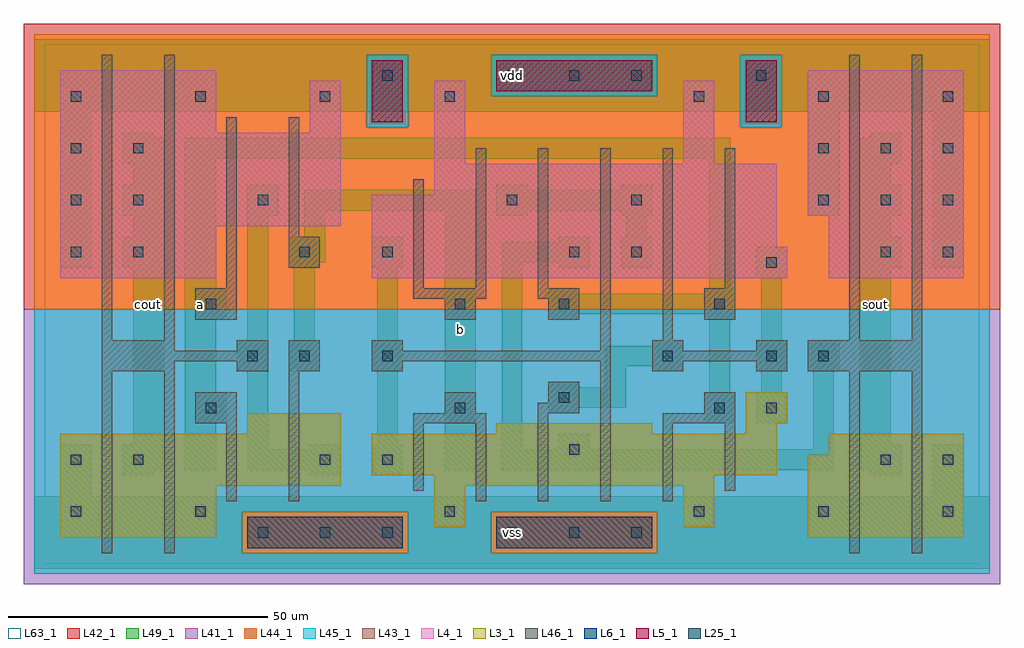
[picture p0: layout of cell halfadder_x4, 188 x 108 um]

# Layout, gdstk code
import gdstk
lib = gdstk.Library(unit=1e-6, precision=1e-09)
def R(c, l, rs):  # rectangles x0, y0, x1, y1
    for r in rs: c.add(gdstk.rectangle(r[:2], r[2:], *l))
def A(c, l, x, y, w, h, nx, ny, dx, dy):  # array of equal rectangles
    R(c, l, [(x+i*dx, y+j*dy, x+i*dx+w, y+j*dy+h) for i in range(nx) for j in range(ny)])
L3_1 = (3, 1)
L4_1 = (4, 1)
L5_1 = (5, 1)
L6_1 = (6, 1)
L25_1 = (25, 1)
L41_1 = (41, 1)
L42_1 = (42, 1)
L43_1 = (43, 1)
L44_1 = (44, 1)
L45_1 = (45, 1)
L46_1 = (46, 1)
L49_1 = (49, 1)
L63_1 = (63, 1)

halfadder_x4 = lib.new_cell('halfadder_x4')
R(halfadder_x4, L3_1, [(3,5,33,15), (147,5,177,21), (75,7,81,15), (123,7,129,15), (3,15,57,25), (75,15,129,17), (63,17,141,25), (151,21,177,25), (39,25,57,29), (87,25,117,27), (135,25,141,27), (135,27,143,33)])
R(halfadder_x4, L4_1, [(3,55,33,65), (63,55,143,61), (151,55,177,67), (63,61,141,71), (3,65,57,83), (147,67,177,95), (75,71,141,77), (75,77,81,93), (123,77,129,93), (3,83,33,95), (51,83,57,93)])
R(halfadder_x4, L5_1, [(63,85,69,97), (135,85,141,97), (87,91,117,97)])
R(halfadder_x4, L6_1, [(39,3,69,9), (87,3,117,9)])
A(halfadder_x4, L25_1, 41, 5, 2, 2, 3, 1, 12, 0)
A(halfadder_x4, L25_1, 89, 5, 2, 2, 3, 2, 12, 88)
A(halfadder_x4, L25_1, 29, 9, 2, 2, 3, 1, 48, 0)
A(halfadder_x4, L25_1, 65, 19, 2, 2, 1, 3, 0, 20)
A(halfadder_x4, L25_1, 5, 59, 2, 2, 1, 3, 0, 10)
A(halfadder_x4, L25_1, 17, 59, 2, 2, 1, 3, 0, 10)
A(halfadder_x4, L25_1, 149, 69, 2, 2, 3, 2, 12, 10)
A(halfadder_x4, L25_1, 5, 89, 2, 2, 4, 1, 24, 0)
A(halfadder_x4, L25_1, 125, 89, 2, 2, 3, 1, 24, 0)
R(halfadder_x4, L25_1, [(5,9,7,11), (149,9,151,11), (173,9,175,11), (5,19,7,21), (17,19,19,21), (53,19,55,21), (161,19,163,21), (173,19,175,21), (101,21,103,23), (31,29,33,31), (79,29,81,31), (129,29,131,31), (139,29,141,31), (99,31,101,33), (39,39,41,41), (49,39,51,41), (119,39,121,41), (139,39,141,41), (149,39,151,41), (31,49,33,51), (79,49,81,51), (99,49,101,51), (129,49,131,51), (139,57,141,59), (49,59,51,61), (101,59,103,61), (113,59,115,61), (161,59,163,61), (173,59,175,61), (41,69,43,71), (89,69,91,71), (113,69,115,71), (65,93,67,95), (137,93,139,95)])
R(halfadder_x4, L41_1, [(-4,-4,184,49)])
R(halfadder_x4, L42_1, [(-4,49,184,104)])
R(halfadder_x4, L43_1, [(39,3,69,9), (87,3,117,9), (3,5,33,15), (147,5,177,21), (75,7,81,15), (123,7,129,15), (3,15,57,25), (75,15,129,17), (63,17,141,25), (151,21,177,25), (39,25,57,29), (87,25,117,27), (135,25,141,27), (135,27,143,33), (3,55,33,65), (63,55,143,61), (151,55,177,67), (63,61,141,71), (3,65,57,83), (147,67,177,95), (75,71,141,77), (75,77,81,93), (123,77,129,93), (3,83,33,95), (51,83,57,93), (63,85,69,97), (135,85,141,97), (87,91,117,97)])
R(halfadder_x4, L44_1, [(38,2,70,10), (86,2,118,10), (-2,49,182,84), (-2,84,62,98), (70,84,134,90), (142,84,182,98), (70,90,86,98), (118,90,134,98), (-2,98,182,102)])
R(halfadder_x4, L45_1, [(-2,-2,182,2), (-2,2,38,10), (70,2,86,10), (118,2,182,10), (-2,10,182,49), (62,84,70,98), (134,84,142,98), (86,90,118,98)])
R(halfadder_x4, L46_1, [(11,2,13,37), (23,2,25,37), (155,2,157,37), (167,2,169,37), (35,12,37,27), (47,12,49,37), (83,12,85,27), (95,12,97,29), (107,12,109,39), (119,12,121,27), (71,14,73,27), (131,14,133,27), (29,27,37,33), (71,27,85,29), (119,27,133,29), (77,29,83,33), (95,29,103,31), (127,29,133,33), (97,31,103,35), (11,37,25,39), (37,37,43,39), (47,37,53,43), (63,37,69,39), (117,37,123,39), (137,37,143,39), (147,37,169,43), (11,39,43,41), (63,39,109,41), (117,39,143,41), (11,41,25,43), (37,41,43,43), (63,41,69,43), (107,41,109,80), (117,41,123,43), (137,41,143,43), (11,43,13,98), (23,43,25,98), (119,43,121,80), (155,43,157,98), (167,43,169,98), (29,47,37,53), (77,47,83,51), (97,47,103,51), (127,47,133,53), (71,51,85,53), (95,51,103,53), (35,53,37,86), (71,53,73,74), (83,53,85,80), (95,53,97,80), (131,53,133,80), (47,57,53,63), (47,63,49,86)])
A(halfadder_x4, L49_1, 63, 17, 6, 6, 1, 3, 0, 20)
R(halfadder_x4, L49_1, [(-2,-1,182,13), (3,13,9,23), (171,13,177,23), (15,17,21,18), (51,17,57,18), (159,17,165,18), (15,18,23,23), (27,18,33,27), (39,18,57,22), (77,18,83,68), (88,18,152,22), (157,18,165,23), (39,22,43,37), (51,22,57,23), (88,22,92,58), (99,22,105,25), (148,22,152,37), (17,23,23,57), (64,23,68,37), (157,23,163,57), (27,27,35,33), (127,27,133,33), (137,27,143,33), (97,29,103,30), (97,30,112,34), (27,33,33,47), (128,33,132,47), (138,33,142,37), (97,34,103,35), (108,34,112,38), (37,37,43,43), (47,37,53,43), (117,37,123,38), (137,37,143,43), (147,37,153,43), (108,38,123,42), (117,42,123,43), (39,43,43,67), (48,43,52,57), (64,43,68,57), (138,43,142,55), (27,47,35,53), (97,47,103,48), (127,47,133,48), (97,48,133,52), (97,52,103,53), (127,52,133,53), (27,53,33,78), (128,53,132,78), (137,55,143,61), (3,57,9,87), (15,57,23,63), (47,57,53,58), (99,57,105,58), (111,57,117,63), (157,57,165,63), (171,57,177,87), (47,58,54,63), (88,58,105,62), (99,62,105,63), (17,63,23,67), (50,63,54,68), (112,63,116,67), (157,63,163,67), (15,67,23,73), (39,67,45,73), (87,67,93,68), (111,67,117,68), (147,67,153,87), (157,67,165,73), (50,68,83,72), (87,68,117,72), (87,72,93,73), (111,72,117,73), (17,73,23,77), (157,73,163,77), (15,77,23,82), (157,77,165,82), (27,78,132,82), (15,82,21,83), (159,82,165,83), (-2,87,182,101)])
R(halfadder_x4, L63_1, [(0,0,180,100)])
halfadder_x4.add(gdstk.Label('a', (30,50), layer=49, texttype=1))
halfadder_x4.add(gdstk.Label('cout', (20,50), layer=49, texttype=1))
halfadder_x4.add(gdstk.Label('a', (30,50), layer=49, texttype=1))
halfadder_x4.add(gdstk.Label('cout', (20,50), layer=49, texttype=1))
halfadder_x4.add(gdstk.Label('vss', (90,6), layer=49, texttype=1))
halfadder_x4.add(gdstk.Label('vss', (90,6), layer=49, texttype=1))
halfadder_x4.add(gdstk.Label('b', (80,45), layer=49, texttype=1))
halfadder_x4.add(gdstk.Label('b', (80,45), layer=49, texttype=1))
halfadder_x4.add(gdstk.Label('vdd', (90,94), layer=49, texttype=1))
halfadder_x4.add(gdstk.Label('vdd', (90,94), layer=49, texttype=1))
halfadder_x4.add(gdstk.Label('sout', (160,50), layer=49, texttype=1))
halfadder_x4.add(gdstk.Label('sout', (160,50), layer=49, texttype=1))

lib.write_gds('halfadder_x4.gds')
